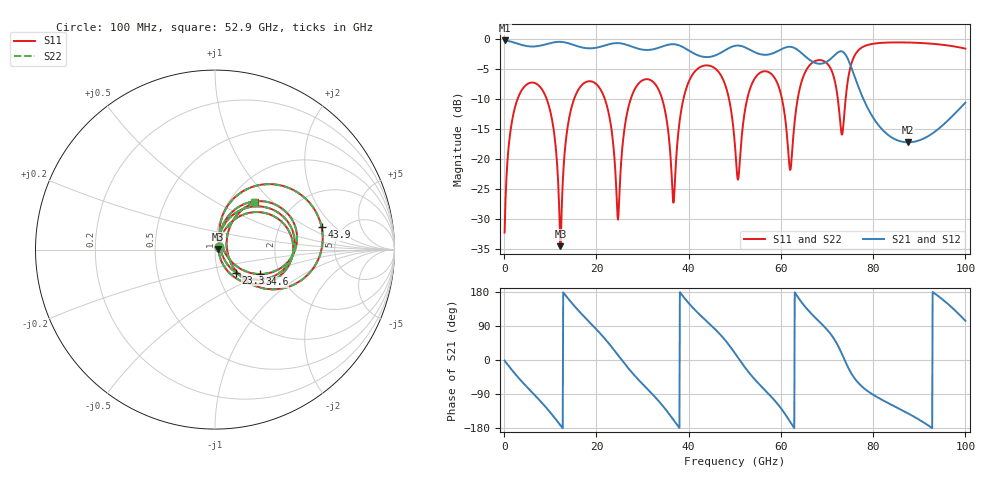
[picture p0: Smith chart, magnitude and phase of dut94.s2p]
! Touchstone file exported from HFSS 2026.1.0
!  File:  C:/ffzhzh/LocalFiles/Ansys_Project_Files/temp_train_TSV_RDL_94_1783631906_26216.aedt
!  Generated:  05:35:36 AM Jul 10, 2026
!  Design:  TSV_RDL
!  Project:  temp_train_TSV_RDL_94_1783631906_26216
! Variables:
!  h_bsmrdl = 2.55um
!  h_ox = 20um
!  h_rdl = 5um
!  h_sub = 84.41um
!  h_tmrdl = 4.32um
!  h_tsv = 84.41um
!  h_via = 3um
!  l_bsmrdl = 438.44um
!  l_sub = 4565.84um
!  l_tmrdl = 680.29um
!  m_sub = 200um
!  pitch = 46.23um
!  r_tsv = 13.67um
!  s_tmrdl = 10um
!  w_bsmrdl = 20.84um
!  w_sub = 500um
!  w_tmrdl = 22.28um
!  x_tsv_center1 = 691.43um
!  x_tsv_center2 = 1150.71um
!  x_tsv_center3 = 1853.28um
!  x_tsv_center4 = 2312.56um
!  x_tsv_center5 = 3015.13um
!  x_tsv_center6 = 3474.41um
# GHz S MA R 50.000000
! Terminal data exported
! Port[1] = TM_RDL1_1_T1
! Port[2] = TM_RDL5_1_T1
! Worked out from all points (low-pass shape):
!   1000 points, 100 MHz to 100 GHz, reference 50 ohm
!   highest |S21| = -0.17 dB at 100 MHz (marker M1); lowest = -17.2 dB at 87.6 GHz (marker M2)
!   |S21| within 3 dB of the highest: start of sweep to 65.82 GHz; 70.91 GHz to 74.46 GHz (3.55 GHz wide, 4.88 % of centre)
!   lowest |S11| = -34.6 dB at 12.2 GHz (marker M3), VSWR 1.04, Z = 51.9 + j0.095 ohm
!   |S11| at or under -10 dB: 9.238 GHz to 15.15 GHz (5.913 GHz wide, 48.5 % of centre); 21.85 GHz to 27.43 GHz (5.581 GHz wide, 22.7 % of centre); 34.27 GHz to 38.86 GHz (4.584 GHz wide, 12.5 % of centre) (the widest 3 of 7)
!   |S22| runs from -34.3 to -0.5 dB; largest |S21 - S12| = 2.2e-13
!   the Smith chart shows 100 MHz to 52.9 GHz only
!   S11 on the Smith chart (normalised r, x): 100 MHz: 1.04, +0.03; 23.3 GHz: 1.22, -0.32; 34.6 GHz: 1.58, -0.47; 43.9 GHz: 3.48, +1.40; 52.9 GHz: 1.30, +0.78
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0.1  0.02431 34.3  0.9802 -1.7  0.9802 -1.7  0.02431 34.3
! Gamma 0 0 0 0
! Port Impedance 50 0 50 0
2  0.2377 52.7  0.9454 -31.0  0.9454 -31.0  0.2377 52.7
6  0.4359 2.8  0.8724 -84.7  0.8724 -84.7  0.436 2.8
10  0.2511 -47.2  0.9315 -138.4  0.9315 -138.4  0.2513 -47.2
12.2  0.01869 2.8  0.9543 -172.2  0.9543 -172.2  0.0192 2.6
16.8  0.4136 28.7  0.8584 121.4  0.8584 121.4  0.4135 28.7
23.3  0.1735 -47.7  0.9215 34.5  0.9215 34.5  0.1734 -47.9
24.7  0.03113 16.9  0.9316 12.5  0.9316 12.5  0.03024 17.2
27.7  0.3389 52.0  0.8702 -33.0  0.8702 -33.0  0.3388 52.1
33.4  0.3861 -14.8  0.8492 -106.9  0.8492 -106.9  0.3861 -14.6
34.6  0.2841 -28.8  0.8809 -124.1  0.8809 -124.1  0.2842 -28.5
36.7  0.04315 18.6  0.9121 -157.8  0.9121 -157.8  0.0446 18.8
43.9  0.607 12.1  0.7116 102.5  0.7116 102.5  0.607 12.0
50.1  0.1211 -40.6  0.885 16.8  0.885 16.8  0.12 -41.4
52.9  0.3427 50.0  0.8337 -30.5  0.8337 -30.5  0.3424 50.3
58.6  0.4792 -12.9  0.7749 -106.2  0.7749 -106.2  0.4792 -12.7
62  0.08094 11.8  0.8679 -162.7  0.8679 -162.7  0.08203 11.9
66.7  0.6337 27.4  0.6568 120.9  0.6568 120.9  0.6339 27.3
73.5  0.1838 34.2  0.7846 8.7  0.7846 8.7  0.1832 34.2
83.4  0.942 -26.8  0.1574 -114.6  0.1574 -114.6  0.9419 -26.8
87.6  0.9422 -51.3  0.1379 -141.1  0.1379 -141.1  0.942 -51.3
100  0.8378 -162.7  0.2959 103.4  0.2959 103.4  0.8374 -162.8
